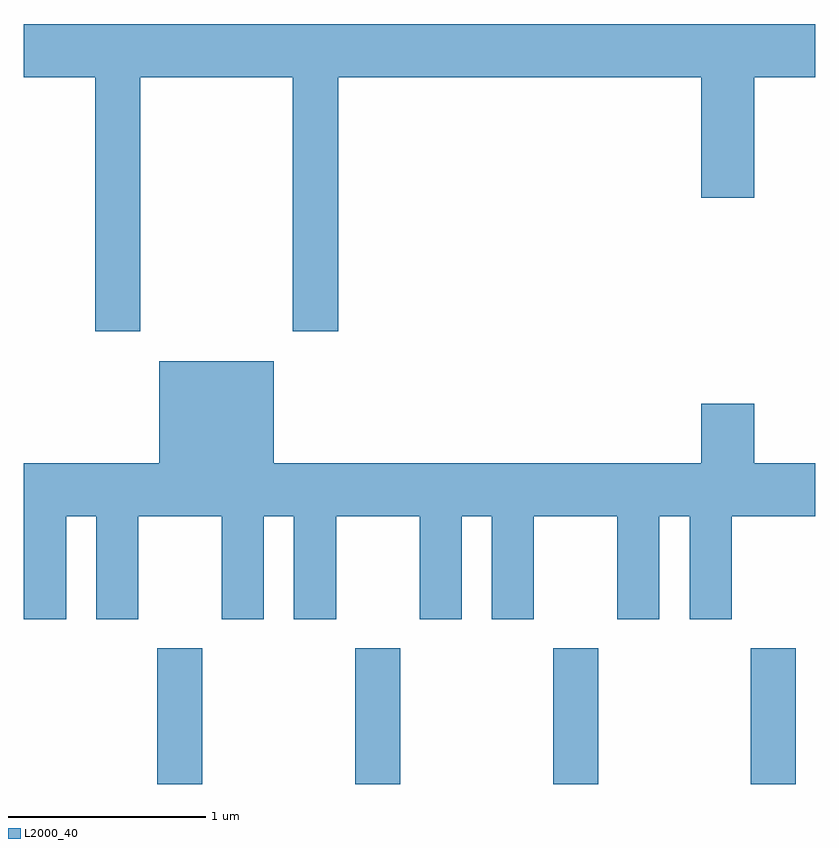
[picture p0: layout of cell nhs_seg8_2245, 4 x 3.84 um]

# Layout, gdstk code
import gdstk
lib = gdstk.Library(unit=1e-6, precision=1e-09)
def R(c, l, rs):  # rectangles x0, y0, x1, y1
    for r in rs: c.add(gdstk.rectangle(r[:2], r[2:], *l))
def A(c, l, x, y, w, h, nx, ny, dx, dy):  # array of equal rectangles
    R(c, l, [(x+i*dx, y+j*dy, x+i*dx+w, y+j*dy+h) for i in range(nx) for j in range(ny)])
def P(c, l, *ps):  # polygons
    for p in ps: c.add(gdstk.Polygon(p, *l))
L2000_40 = (2000, 40)

nhs_seg8_2245 = lib.new_cell('nhs_seg8_2245')
A(nhs_seg8_2245, L2000_40, 252.286, 1888.342, 0.228, 0.687, 4, 1, 1, 0)
P(nhs_seg8_2245, L2000_40, [(252.199,1891.916),(252.971,1891.916),(252.971,1890.631),(253.199,1890.631),(253.199,1891.916),(255.036,1891.916),(255.036,1891.306),(255.304,1891.306),(255.304,1891.916),(255.611,1891.916),(255.611,1892.184),(251.611,1892.184),(251.611,1891.916),(251.971,1891.916),(251.971,1890.631),(252.199,1890.631)],
  [(251.824,1889.696),(251.976,1889.696),(251.976,1889.176),(252.189,1889.176),(252.189,1889.696),(252.611,1889.696),(252.611,1889.176),(252.824,1889.176),(252.824,1889.696),(252.976,1889.696),(252.976,1889.176),(253.189,1889.176),(253.189,1889.696),(253.611,1889.696),(253.611,1889.176),(253.824,1889.176),(253.824,1889.696),(253.976,1889.696),(253.976,1889.176),(254.189,1889.176),(254.189,1889.696),(254.611,1889.696),(254.611,1889.176),(254.824,1889.176),(254.824,1889.696),(254.976,1889.696),(254.976,1889.176),(255.189,1889.176),(255.189,1889.696),(255.611,1889.696),(255.611,1889.964),(255.304,1889.964),(255.304,1890.264),(255.036,1890.264),(255.036,1889.964),(252.874,1889.964),(252.874,1890.479),(252.296,1890.479),(252.296,1889.964),(251.611,1889.964),(251.611,1889.176),(251.824,1889.176)])

lib.write_gds('nhs_seg8_2245.gds')
